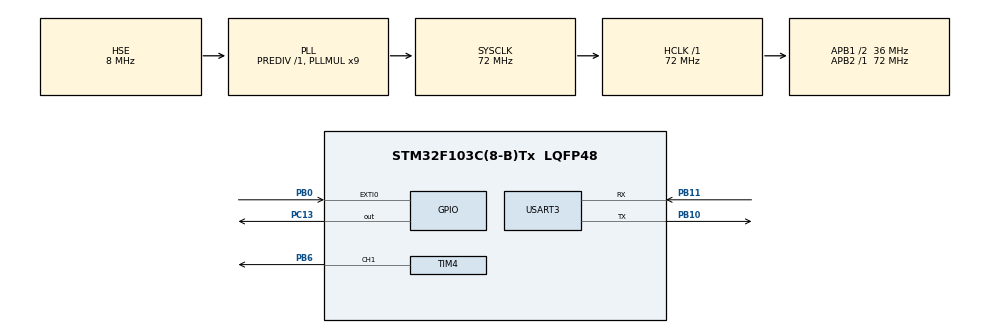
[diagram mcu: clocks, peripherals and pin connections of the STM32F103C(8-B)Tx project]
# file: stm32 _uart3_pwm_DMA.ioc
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Dma.Request0=USART3_RX
Dma.Request1=USART3_TX
Dma.Request2=TIM4_CH1
Dma.TIM4_CH1.2.Direction=DMA_MEMORY_TO_PERIPH
Dma.TIM4_CH1.2.Instance=DMA1_Channel1
Dma.TIM4_CH1.2.MemDataAlignment=DMA_MDATAALIGN_HALFWORD
Dma.TIM4_CH1.2.MemInc=DMA_MINC_ENABLE
Dma.TIM4_CH1.2.Mode=DMA_NORMAL
Dma.TIM4_CH1.2.PeriphDataAlignment=DMA_PDATAALIGN_HALFWORD
Dma.TIM4_CH1.2.PeriphInc=DMA_PINC_DISABLE
Dma.TIM4_CH1.2.Priority=DMA_PRIORITY_LOW
Dma.USART3_RX.0.Direction=DMA_PERIPH_TO_MEMORY
Dma.USART3_RX.0.Instance=DMA1_Channel3
Dma.USART3_RX.0.MemDataAlignment=DMA_MDATAALIGN_BYTE
Dma.USART3_RX.0.MemInc=DMA_MINC_ENABLE
Dma.USART3_RX.0.Mode=DMA_NORMAL
Dma.USART3_RX.0.PeriphDataAlignment=DMA_PDATAALIGN_BYTE
Dma.USART3_RX.0.PeriphInc=DMA_PINC_DISABLE
Dma.USART3_RX.0.Priority=DMA_PRIORITY_LOW
Dma.USART3_TX.1.Direction=DMA_MEMORY_TO_PERIPH
Dma.USART3_TX.1.Instance=DMA1_Channel2
Dma.USART3_TX.1.MemDataAlignment=DMA_MDATAALIGN_BYTE
Dma.USART3_TX.1.MemInc=DMA_MINC_ENABLE
Dma.USART3_TX.1.Mode=DMA_NORMAL
Dma.USART3_TX.1.PeriphDataAlignment=DMA_PDATAALIGN_BYTE
Dma.USART3_TX.1.PeriphInc=DMA_PINC_DISABLE
Dma.USART3_TX.1.Priority=DMA_PRIORITY_LOW
Mcu.Family=STM32F1
Mcu.Name=STM32F103C(8-B)Tx
Mcu.Package=LQFP48
NVIC.DMA1_Channel1_IRQn=true\:0\:0\:false\:false\:true\:false\:true
NVIC.DMA1_Channel2_IRQn=true\:0\:0\:false\:false\:true\:false\:true
NVIC.DMA1_Channel3_IRQn=true\:0\:0\:false\:false\:true\:false\:true
NVIC.EXTI0_IRQn=true\:0\:0\:false\:false\:true\:true\:true
NVIC.PriorityGroup=NVIC_PRIORITYGROUP_4
NVIC.TIM2_IRQn=true\:0\:0\:false\:false\:true\:true\:true
NVIC.USART3_IRQn=true\:0\:0\:false\:false\:true\:true\:true
PA13.Mode=Serial_Wire
PA13.Signal=SYS_JTMS-SWDIO
PA14.Mode=Serial_Wire
PA14.Signal=SYS_JTCK-SWCLK
PB0.Signal=GPXTI0
PB10.Mode=Asynchronous
PB10.Signal=USART3_TX
PB11.Mode=Asynchronous
PB11.Signal=USART3_RX
PB6.Signal=S_TIM4_CH1
PC13-TAMPER-RTC.Signal=GPIO_Output
PD0-OSC_IN.Mode=HSE-External-Oscillator
PD0-OSC_IN.Signal=RCC_OSC_IN
PD1-OSC_OUT.Mode=HSE-External-Oscillator
PD1-OSC_OUT.Signal=RCC_OSC_OUT
ProjectManager.HeapSize=0x200
ProjectManager.StackSize=0x400
ProjectManager.TargetToolchain=STM32CubeIDE
RCC.AHBFreq_Value=72000000
RCC.APB1CLKDivider=RCC_HCLK_DIV2
RCC.APB1Freq_Value=36000000
RCC.APB1TimFreq_Value=72000000
RCC.APB2Freq_Value=72000000
RCC.APB2TimFreq_Value=72000000
RCC.HCLKFreq_Value=72000000
RCC.PLLMUL=RCC_PLL_MUL9
RCC.PLLSourceVirtual=RCC_PLLSOURCE_HSE
RCC.SYSCLKFreq_VALUE=72000000
RCC.SYSCLKSource=RCC_SYSCLKSOURCE_PLLCLK
RCC.USBFreq_Value=72000000
SH.S_TIM4_CH1.0=TIM4_CH1,PWM Generation1 CH1
TIM2.AutoReloadPreload=TIM_AUTORELOAD_PRELOAD_ENABLE
TIM2.Prescaler=72-1
TIM4.Channel-PWM\ Generation1\ CH1=TIM_CHANNEL_1
TIM4.Period=10000-1
TIM4.Prescaler=72-1
USART3.VirtualMode=VM_ASYNC
VP_TIM2_VS_ClockSourceINT.Mode=Internal
VP_TIM4_VS_ClockSourceINT.Mode=Internal
board=custom

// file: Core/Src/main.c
/* USER CODE BEGIN Header */
/**
 ******************************************************************************
 * @file           : main.c
 * @brief          : Main program body
 ******************************************************************************
 * @attention
 *
 * <h2><center>&copy; Copyright (c) 2021 STMicroelectronics.
 * All rights reserved.</center></h2>
 *
 * This software component is licensed by ST under BSD 3-Clause license,
 * the "License"; You may not use this file except in compliance with the
 * License. You may obtain a copy of the License at:
 *                        opensource.org/licenses/BSD-3-Clause
 *
 ******************************************************************************
 */
/* USER CODE END Header */
#include "main.h"

/* USER CODE BEGIN Includes */
#include "stdlib.h"
#include "string.h"
#include <stdio.h>
#include <math.h>
/* USER CODE END Includes */

TIM_HandleTypeDef htim2;
TIM_HandleTypeDef htim4;
DMA_HandleTypeDef hdma_tim4_ch1;

UART_HandleTypeDef huart3;
DMA_HandleTypeDef hdma_usart3_rx;
DMA_HandleTypeDef hdma_usart3_tx;

void SystemClock_Config(void);
static void MX_GPIO_Init(void);
static void MX_DMA_Init(void);
static void MX_USART3_UART_Init(void);
static void MX_TIM4_Init(void);
static void MX_TIM2_Init(void);

/* USER CODE BEGIN 0 */

uint16_t buf[1]={256};
//uint16_t bufReceiveDMA[1];
float bufReceiveDMA[1];
//uint16_t bufSendDMA [3]={0};
uint16_t buf_pwm[1];
uint16_t T_Anterior;
uint16_t T_Actual;
uint16_t delta;

float bufSendDMA[2];

uint16_t contador[1]={0};

float velocidad=25.89;

int RANURAS = 20.0;
int freq = 50.0;

int desborde=0;

//El periferico UART usa 8 bits. Los timers aceptan halfword

void HAL_GPIO_EXTI_Callback (uint16_t GPIO_Pin){

	if (GPIO_Pin == GPIO_PIN_0){//Si se interrumpe por flanco ascendente del pin 0 (Enconder optico)
		T_Anterior = T_Actual; //Guardo el tiempo anterior
		T_Actual = __HAL_TIM_GET_COUNTER(&htim2); //Guardo el tiempo actual
		if(desborde == 0){
			delta = T_Actual - T_Anterior;
		}
		else{
			delta = desborde*65535 + T_Actual - T_Anterior;
			desborde = 0;
		}
	}
}

void Armado(){ //Función para armar Buffer de transmisión

	//bufSendDMA[0]=bufReceiveDMA[0]*7.4/10000.0;
	bufSendDMA[0]=(float)desborde;
	velocidad = 2*M_PI*1000000.0/(20.0*delta);
	buf_pwm[0]=(uint16_t)bufReceiveDMA[0];
	bufSendDMA[1]=velocidad;

	//contador [1]= 0;
	HAL_GPIO_TogglePin(GPIOC, GPIO_PIN_13);

}

void HAL_UART_RxCpltCallback(UART_HandleTypeDef *huart) // Callback que e ejecuta cuando se completo una recepcion.
//La recepción se completa cuando se completa el buffer, hasta entonces no se entra en la función. ES ALGO QUE HAY QUE TENNER EN CUENTA.

{
	Armado(); //Llamo a función que arma buffer
	HAL_TIM_PWM_Start_DMA(&htim4, TIM_CHANNEL_1, (uint32_t*)buf_pwm, sizeof(buf_pwm)); //Envio usando dma el duty cicle de la pwm
	HAL_UART_Transmit_DMA(&huart3, (uint8_t*)bufSendDMA, sizeof (bufSendDMA)); //Transmito el buffer
	HAL_UART_Receive_DMA(&huart3, (uint8_t*)bufReceiveDMA, sizeof(bufReceiveDMA)); // Vuelvo a iniciar la recepcion por DMA
}

void HAL_UART_TxCpltCallback(UART_HandleTypeDef *huart) //Se completa la transmision
{
	//HAL_TIM_PWM_Start_DMA(&htim4, TIM_CHANNEL_1, (uint32_t*)bufReceiveDMA, sizeof(bufReceiveDMA)); Esta linea se puede incluir acá o en la recepción. Analizar despues cual es la mejor opción.

}

void HAL_TIM_PeriodElapsedCallback(TIM_HandleTypeDef *htim) //Se desborda el timer 2
{
	desborde ++;

}

/* USER CODE END 0 */

int main(void)
{

	/* MCU Configuration--------------------------------------------------------*/

	/* Reset of all peripherals, Initializes the Flash interface and the Systick. */
	HAL_Init();

	/* Configure the system clock */
	SystemClock_Config();

	/* Initialize all configured peripherals */
	MX_GPIO_Init();
	MX_DMA_Init();
	MX_USART3_UART_Init();
	MX_TIM4_Init();
	MX_TIM2_Init();
	/* USER CODE BEGIN 2 */

	HAL_UART_Transmit_DMA(&huart3, (uint8_t*)bufSendDMA, sizeof (bufSendDMA));
	HAL_UART_Receive_DMA (&huart3,(uint8_t*)bufReceiveDMA, sizeof(bufReceiveDMA));
	HAL_TIM_PWM_Start_DMA(&htim4, TIM_CHANNEL_1, (uint32_t*)bufReceiveDMA, sizeof(bufReceiveDMA));

	HAL_TIM_Base_Start_IT(&htim2);
	/* USER CODE END 2 */

	/* Infinite loop */
	while (1)
	{

	}
}

void SystemClock_Config(void)
{
	RCC_OscInitTypeDef RCC_OscInitStruct = {0};
	RCC_ClkInitTypeDef RCC_ClkInitStruct = {0};

	/** Initializes the RCC Oscillators according to the specified parameters
	 * in the RCC_OscInitTypeDef structure.
	 */
	RCC_OscInitStruct.OscillatorType = RCC_OSCILLATORTYPE_HSE;
	RCC_OscInitStruct.HSEState = RCC_HSE_ON;
	RCC_OscInitStruct.HSEPredivValue = RCC_HSE_PREDIV_DIV1;
	RCC_OscInitStruct.HSIState = RCC_HSI_ON;
	RCC_OscInitStruct.PLL.PLLState = RCC_PLL_ON;
	RCC_OscInitStruct.PLL.PLLSource = RCC_PLLSOURCE_HSE;
	RCC_OscInitStruct.PLL.PLLMUL = RCC_PLL_MUL9;
	if (HAL_RCC_OscConfig(&RCC_OscInitStruct) != HAL_OK)
	{
		Error_Handler();
	}
	/** Initializes the CPU, AHB and APB buses clocks
	 */
	RCC_ClkInitStruct.ClockType = RCC_CLOCKTYPE_HCLK|RCC_CLOCKTYPE_SYSCLK
			|RCC_CLOCKTYPE_PCLK1|RCC_CLOCKTYPE_PCLK2;
	RCC_ClkInitStruct.SYSCLKSource = RCC_SYSCLKSOURCE_PLLCLK;
	RCC_ClkInitStruct.AHBCLKDivider = RCC_SYSCLK_DIV1;
	RCC_ClkInitStruct.APB1CLKDivider = RCC_HCLK_DIV2;
	RCC_ClkInitStruct.APB2CLKDivider = RCC_HCLK_DIV1;

	if (HAL_RCC_ClockConfig(&RCC_ClkInitStruct, FLASH_LATENCY_2) != HAL_OK)
	{
		Error_Handler();
	}
}

static void MX_TIM2_Init(void)
{

	TIM_ClockConfigTypeDef sClockSourceConfig = {0};
	TIM_MasterConfigTypeDef sMasterConfig = {0};

	htim2.Instance = TIM2;
	htim2.Init.Prescaler = 72-1;
	htim2.Init.CounterMode = TIM_COUNTERMODE_UP;
	htim2.Init.Period = 65535;
	htim2.Init.ClockDivision = TIM_CLOCKDIVISION_DIV1;
	htim2.Init.AutoReloadPreload = TIM_AUTORELOAD_PRELOAD_ENABLE;
	if (HAL_TIM_Base_Init(&htim2) != HAL_OK)
	{
		Error_Handler();
	}
	sClockSourceConfig.ClockSource = TIM_CLOCKSOURCE_INTERNAL;
	if (HAL_TIM_ConfigClockSource(&htim2, &sClockSourceConfig) != HAL_OK)
	{
		Error_Handler();
	}
	sMasterConfig.MasterOutputTrigger = TIM_TRGO_RESET;
	sMasterConfig.MasterSlaveMode = TIM_MASTERSLAVEMODE_DISABLE;
	if (HAL_TIMEx_MasterConfigSynchronization(&htim2, &sMasterConfig) != HAL_OK)
	{
		Error_Handler();
	}

}

static void MX_TIM4_Init(void)
{

	TIM_ClockConfigTypeDef sClockSourceConfig = {0};
	TIM_MasterConfigTypeDef sMasterConfig = {0};
	TIM_OC_InitTypeDef sConfigOC = {0};

	htim4.Instance = TIM4;
	htim4.Init.Prescaler = 72-1;
	htim4.Init.CounterMode = TIM_COUNTERMODE_UP;
	htim4.Init.Period = 10000-1;
	htim4.Init.ClockDivision = TIM_CLOCKDIVISION_DIV1;
	htim4.Init.AutoReloadPreload = TIM_AUTORELOAD_PRELOAD_DISABLE;
	if (HAL_TIM_Base_Init(&htim4) != HAL_OK)
	{
		Error_Handler();
	}
	sClockSourceConfig.ClockSource = TIM_CLOCKSOURCE_INTERNAL;
	if (HAL_TIM_ConfigClockSource(&htim4, &sClockSourceConfig) != HAL_OK)
	{
		Error_Handler();
	}
	if (HAL_TIM_PWM_Init(&htim4) != HAL_OK)
	{
		Error_Handler();
	}
	sMasterConfig.MasterOutputTrigger = TIM_TRGO_RESET;
	sMasterConfig.MasterSlaveMode = TIM_MASTERSLAVEMODE_DISABLE;
	if (HAL_TIMEx_MasterConfigSynchronization(&htim4, &sMasterConfig) != HAL_OK)
	{
		Error_Handler();
	}
	sConfigOC.OCMode = TIM_OCMODE_PWM1;
	sConfigOC.Pulse = 0;
	sConfigOC.OCPolarity = TIM_OCPOLARITY_HIGH;
	sConfigOC.OCFastMode = TIM_OCFAST_DISABLE;
	if (HAL_TIM_PWM_ConfigChannel(&htim4, &sConfigOC, TIM_CHANNEL_1) != HAL_OK)
	{
		Error_Handler();
	}
	HAL_TIM_MspPostInit(&htim4);

}

static void MX_USART3_UART_Init(void)
{

	huart3.Instance = USART3;
	huart3.Init.BaudRate = 115200;
	huart3.Init.WordLength = UART_WORDLENGTH_8B;
	huart3.Init.StopBits = UART_STOPBITS_1;
	huart3.Init.Parity = UART_PARITY_NONE;
	huart3.Init.Mode = UART_MODE_TX_RX;
	huart3.Init.HwFlowCtl = UART_HWCONTROL_NONE;
	huart3.Init.OverSampling = UART_OVERSAMPLING_16;
	if (HAL_UART_Init(&huart3) != HAL_OK)
	{
		Error_Handler();
	}

}

static void MX_DMA_Init(void)
{

	/* DMA controller clock enable */
	__HAL_RCC_DMA1_CLK_ENABLE();

	/* DMA interrupt init */
	/* DMA1_Channel1_IRQn interrupt configuration */
	HAL_NVIC_SetPriority(DMA1_Channel1_IRQn, 0, 0);
	HAL_NVIC_EnableIRQ(DMA1_Channel1_IRQn);
	/* DMA1_Channel2_IRQn interrupt configuration */
	HAL_NVIC_SetPriority(DMA1_Channel2_IRQn, 0, 0);
	HAL_NVIC_EnableIRQ(DMA1_Channel2_IRQn);
	/* DMA1_Channel3_IRQn interrupt configuration */
	HAL_NVIC_SetPriority(DMA1_Channel3_IRQn, 0, 0);
	HAL_NVIC_EnableIRQ(DMA1_Channel3_IRQn);

}

static void MX_GPIO_Init(void)
{
	GPIO_InitTypeDef GPIO_InitStruct = {0};

	/* GPIO Ports Clock Enable */
	__HAL_RCC_GPIOC_CLK_ENABLE();
	__HAL_RCC_GPIOD_CLK_ENABLE();
	__HAL_RCC_GPIOB_CLK_ENABLE();
	__HAL_RCC_GPIOA_CLK_ENABLE();

	/*Configure GPIO pin Output Level */
	HAL_GPIO_WritePin(GPIOC, GPIO_PIN_13, GPIO_PIN_RESET);

	/*Configure GPIO pin : PC13 */
	GPIO_InitStruct.Pin = GPIO_PIN_13;
	GPIO_InitStruct.Mode = GPIO_MODE_OUTPUT_PP;
	GPIO_InitStruct.Pull = GPIO_NOPULL;
	GPIO_InitStruct.Speed = GPIO_SPEED_FREQ_LOW;
	HAL_GPIO_Init(GPIOC, &GPIO_InitStruct);

	/*Configure GPIO pin : PB0 */
	GPIO_InitStruct.Pin = GPIO_PIN_0;
	GPIO_InitStruct.Mode = GPIO_MODE_IT_RISING;
	GPIO_InitStruct.Pull = GPIO_NOPULL;
	HAL_GPIO_Init(GPIOB, &GPIO_InitStruct);

	/* EXTI interrupt init*/
	HAL_NVIC_SetPriority(EXTI0_IRQn, 0, 0);
	HAL_NVIC_EnableIRQ(EXTI0_IRQn);

}

void Error_Handler(void)
{
	__disable_irq();
	while (1)
	{
	}
}

/************************ (C) COPYRIGHT STMicroelectronics *****END OF FILE****/
